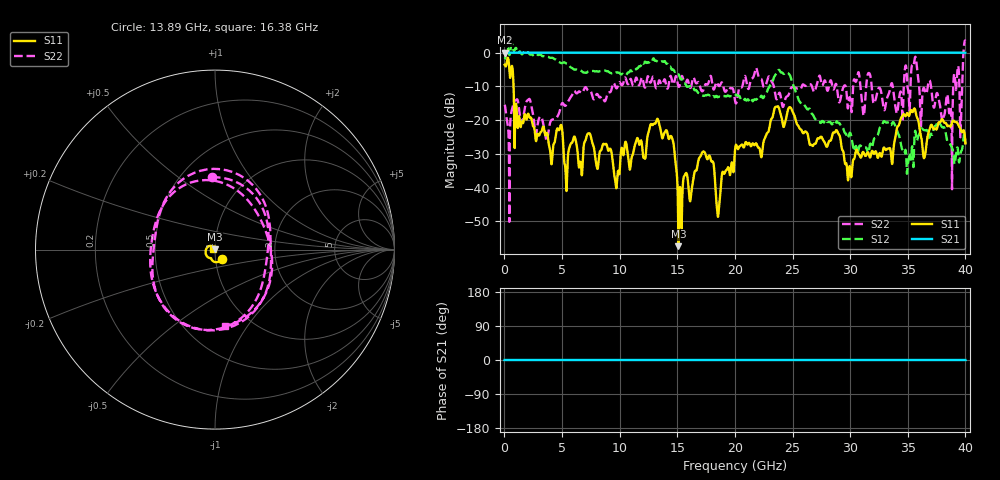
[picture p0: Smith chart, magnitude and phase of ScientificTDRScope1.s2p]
# MHz MA S R 50.0
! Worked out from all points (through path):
!   4000 points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, 10 MHz to 40 GHz, reference 50 ohm
!   highest |S21| = 0.00 dB at 10 MHz (marker M1); lowest = 0.0 dB at 10 MHz (marker M2)
!   lowest |S11| = -57.3 dB at 15.09 GHz (marker M3), VSWR 1.00, Z = 49.9 + j0.126 ohm
!   |S11| at or under -10 dB: 786.7 MHz to end of sweep
!   |S22| runs from -50.1 to 3.6 dB; largest |S21 - S12| = 2.1
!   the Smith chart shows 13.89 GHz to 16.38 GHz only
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10  0.6614 -12.0  1 0.0  0.8024 167.7  0.1688 1.3
480  0.4272 150.5  1 0.0  0.9871 166.5  0.07319 73.5
900  0.0712 -88.1  1 0.0  1.113 14.4  0.1951 -9.5
1400  0.07879 -163.2  1 0.0  1.014 176.8  0.1014 -139.0
1860  0.1076 147.5  1 0.0  0.9735 0.4  0.181 23.0
2330  0.1064 81.5  1 0.0  0.9448 -177.0  0.1642 -97.1
2790  0.05392 51.5  1 0.0  0.9421 1.3  0.06837 66.3
3260  0.07162 8.0  1 0.0  0.8911 -178.7  0.1055 -86.7
3710  0.06316 -62.4  1 0.0  0.8651 6.1  0.05215 78.3
4180  0.03469 -59.0  1 0.0  0.8361 -176.4  0.1023 -90.1
4640  0.07484 -130.2  1 0.0  0.7414 5.6  0.1171 93.5
6680  0.01733 21.1  1 0.0  0.533 -54.3  0.2523 105.7
12000  0.0327 172.9  1 0.0  0.7026 88.2  0.4034 29.2
12450  0.06177 174.4  1 0.0  0.7211 -90.6  0.448 -133.5
12900  0.08616 93.5  1 0.0  0.8184 91.6  0.442 80.8
13340  0.1001 12.1  1 0.0  0.7262 -86.9  0.356 -80.1
15090  0.00136 112.1  1 0.0  0.4774 -67.7  0.3193 14.5
20010  0.03652 -165.7  1 0.0  0.2293 -107.6  0.1939 104.1
26670  0.04266 50.4  1 0.0  0.1245 167.7  0.3199 -38.9
33340  0.03805 86.9  1 0.0  0.09356 -162.4  0.2432 51.8
39300  0.09112 80.3  1 0.0  0.03946 42.9  0.5407 -0.3
40000  0.04546 -47.8  1 0.0  0.04361 24.6  1.496 150.9
